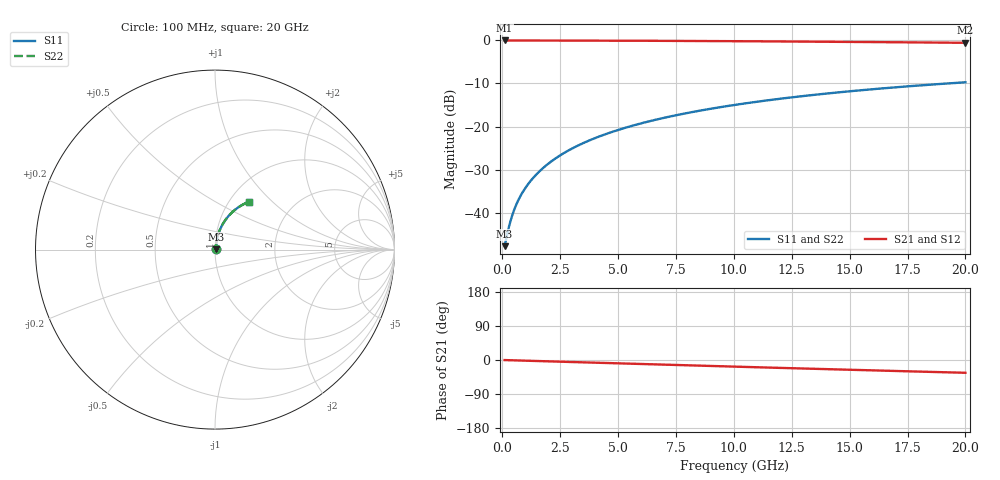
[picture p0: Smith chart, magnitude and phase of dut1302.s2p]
! Touchstone file exported from HFSS 2026.1.0
!  File:  C:/ffzhzh/LocalFiles/Ansys_Project_Files/temp_train_BSMRDL_1302_1783178211_18472.aedt
!  Generated:  11:18:04 PM Jul  4, 2026
!  Design:  BSMRDL
!  Project:  temp_train_BSMRDL_1302_1783178211_18472
! Variables:
!  h_bsmrdl = 2.22um
!  h_ox = 20um
!  h_rdl = 5um
!  h_sub = 80um
!  h_tmrdl = 5um
!  h_tsv = 80um
!  h_via = 3um
!  l_bsmrdl = 461.53um
!  l_sub = 861.53um
!  l_tmrdl = 200um
!  m_sub = 200um
!  pitch = 48.01um
!  r_tsv = 6um
!  s_tmrdl = 10um
!  w_bsmrdl = 22.69um
!  w_sub = 500um
!  w_tmrdl = 12um
!  x_tsv_center1 = 206um
!  x_tsv_center2 = 690.22um
!  x_tsv_center3 = 902.22um
!  x_tsv_center4 = 1386.44um
!  x_tsv_center5 = 1598.44um
!  x_tsv_center6 = 2082.66um
# GHz S MA R 50.000000
! Terminal data exported
! Port[1] = BSM_RDL1_1_T1
! Port[2] = BSM_RDL1_1_T2
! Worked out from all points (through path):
!   200 points, 100 MHz to 20 GHz, reference 50 ohm
!   highest |S21| = -0.03 dB at 100 MHz (marker M1); lowest = -0.6 dB at 20 GHz (marker M2)
!   group delay of S21, straight-line fit = 4.69 ps
!   lowest |S11| = -47.7 dB at 100 MHz (marker M3), VSWR 1.01, Z = 50.4 + j0.204 ohm
!   |S11| at or under -10 dB: start of sweep to 19.23 GHz
!   |S22| runs from -47.7 to -9.7 dB; largest |S21 - S12| = 2.7e-15
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0.1  0.004109 29.6  0.9964 -0.2  0.9964 -0.2  0.004109 29.6
! Gamma 0 0 0 0
! Port Impedance 50 0 50 0
0.3  0.007106 57.4  0.9962 -0.6  0.9962 -0.6  0.007106 57.4
0.4  0.008855 63.1  0.9961 -0.7  0.9961 -0.7  0.008854 63.1
0.5  0.01063 66.8  0.9959 -0.9  0.9959 -0.9  0.01063 66.8
0.6  0.0124 69.3  0.9958 -1.1  0.9958 -1.1  0.0124 69.3
0.8  0.01595 72.7  0.9955 -1.5  0.9955 -1.5  0.01595 72.7
1.1  0.02127 75.7  0.9952 -2.0  0.9952 -2.0  0.02127 75.7
1.3  0.02484 76.9  0.9951 -2.3  0.9951 -2.3  0.02484 76.9
1.6  0.0302 78.1  0.9948 -2.9  0.9948 -2.9  0.0302 78.1
2.1  0.03919 79.2  0.9944 -3.7  0.9944 -3.7  0.03919 79.2
2.7  0.05002 79.5  0.9938 -4.8  0.9938 -4.8  0.05002 79.5
3.5  0.06445 79.3  0.9929 -6.2  0.9929 -6.2  0.06445 79.3
4.2  0.07704 78.7  0.9918 -7.4  0.9918 -7.4  0.07704 78.7
5  0.09136 77.8  0.9905 -8.8  0.9905 -8.8  0.09136 77.8
5.9  0.1073 76.6  0.9887 -10.4  0.9887 -10.4  0.1073 76.6
6.8  0.1231 75.3  0.9866 -12.0  0.9866 -12.0  0.1231 75.3
8.3  0.1491 73.1  0.9827 -14.6  0.9827 -14.6  0.1491 73.0
10.1  0.1794 70.2  0.9771 -17.7  0.9771 -17.7  0.1794 70.2
11.7  0.2055 67.7  0.9715 -20.3  0.9715 -20.3  0.2055 67.7
13.4  0.2323 65.0  0.965 -23.2  0.965 -23.2  0.2323 64.9
16.7  0.2814 59.8  0.9511 -28.5  0.9511 -28.5  0.2814 59.7
20  0.3263 54.7  0.9361 -33.7  0.9361 -33.7  0.3263 54.7
